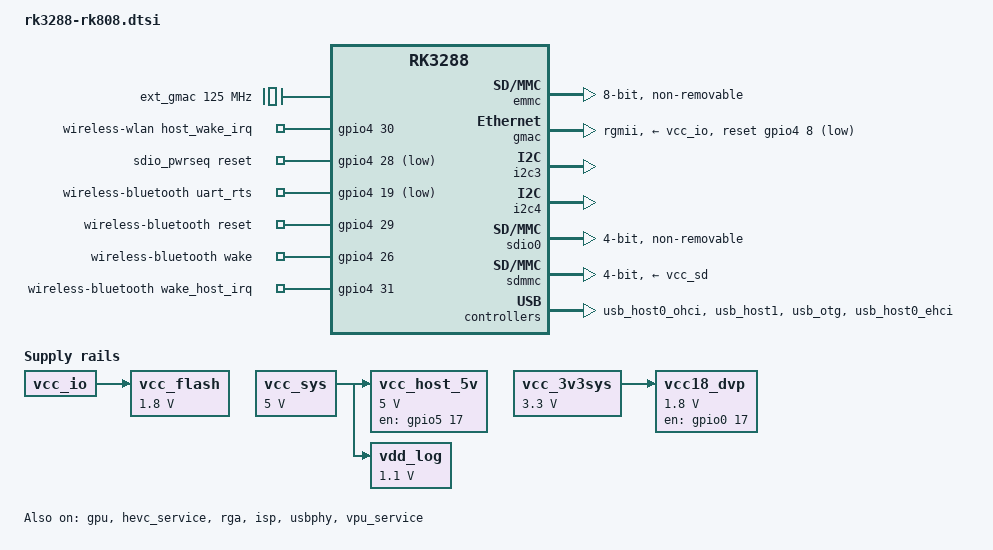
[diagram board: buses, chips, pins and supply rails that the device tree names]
/*
 * This file is dual-licensed: you can use it either under the terms
 * of the GPL or the X11 license, at your option. Note that this dual
 * licensing only applies to this file, and not this project as a
 * whole.
 *
 *  a) This file is free software; you can redistribute it and/or
 *     modify it under the terms of the GNU General Public License as
 *     published by the Free Software Foundation; either version 2 of the
 *     License, or (at your option) any later version.
 *
 *     This file is distributed in the hope that it will be useful,
 *     but WITHOUT ANY WARRANTY; without even the implied warranty of
 *     MERCHANTABILITY or FITNESS FOR A PARTICULAR PURPOSE.  See the
 *     GNU General Public License for more details.
 *
 * Or, alternatively,
 *
 *  b) Permission is hereby granted, free of charge, to any person
 *     obtaining a copy of this software and associated documentation
 *     files (the "Software"), to deal in the Software without
 *     restriction, including without limitation the rights to use,
 *     copy, modify, merge, publish, distribute, sublicense, and/or
 *     sell copies of the Software, and to permit persons to whom the
 *     Software is furnished to do so, subject to the following
 *     conditions:
 *
 *     The above copyright notice and this permission notice shall be
 *     included in all copies or substantial portions of the Software.
 *
 *     THE SOFTWARE IS PROVIDED "AS IS", WITHOUT WARRANTY OF ANY KIND,
 *     EXPRESS OR IMPLIED, INCLUDING BUT NOT LIMITED TO THE WARRANTIES
 *     OF MERCHANTABILITY, FITNESS FOR A PARTICULAR PURPOSE AND
 *     NONINFRINGEMENT. IN NO EVENT SHALL THE AUTHORS OR COPYRIGHT
 *     HOLDERS BE LIABLE FOR ANY CLAIM, DAMAGES OR OTHER LIABILITY,
 *     WHETHER IN AN ACTION OF CONTRACT, TORT OR OTHERWISE, ARISING
 *     FROM, OUT OF OR IN CONNECTION WITH THE SOFTWARE OR THE USE OR
 *     OTHER DEALINGS IN THE SOFTWARE.
 */

/dts-v1/;

#include <dt-bindings/pwm/pwm.h>
#include <dt-bindings/input/input.h>
#include "rk3288.dtsi"
#include "rk3288-android.dtsi"
#include "rk808.dtsi"


/ {
	compatible = "rockchip,rp-rk3288", "rockchip,rk3288";

	ext_gmac: external-gmac-clock {
		compatible = "fixed-clock";
		#clock-cells = <0>;
		clock-frequency = <125000000>;
		clock-output-names = "ext_gmac";
	};

	vcc_sys: vsys-regulator {
		compatible = "regulator-fixed";
		regulator-name = "vcc_sys";
		regulator-min-microvolt = <5000000>;
		regulator-max-microvolt = <5000000>;
		regulator-always-on;
		regulator-boot-on;
	};

	vcc_3v3sys: vsys-regulator {
		compatible = "regulator-fixed";
		regulator-name = "vcc_3v3sys";
		regulator-min-microvolt = <3300000>;
		regulator-max-microvolt = <3300000>;
		regulator-always-on;
		regulator-boot-on;
	};

	vcc18_dvp: dvp-regulator {
		compatible = "regulator-fixed";
		regulator-name = "vcc18_dvp";
		gpio = <&gpio0 17 GPIO_ACTIVE_HIGH>;
		pinctrl-names = "default";
		enable-active-high = "true";
		pinctrl-0 = <&dvp_pwr>;
		regulator-min-microvolt = <1800000>;
		regulator-max-microvolt = <1800000>;
		startup-delay-us = <100000>;
		vin-supply = <&vcc_3v3sys>;
	};

        vcc_flash: flash-regulator {
                compatible = "regulator-fixed";
                regulator-name = "vcc_flash";
                regulator-min-microvolt = <1800000>;
                regulator-max-microvolt = <1800000>;
                vin-supply = <&vcc_io>;
        };

	vcc_host_5v: usb-host-regulator {
		compatible = "regulator-fixed";
		regulator-name = "vcc_host_5v";
		gpio = <&gpio5 17 GPIO_ACTIVE_HIGH>;
		enable-active-high = "true";
		pinctrl-names = "default";
		pinctrl-0 = <&usb_host_pwr>;
		regulator-min-microvolt = <5000000>;
		regulator-max-microvolt = <5000000>;
		startup-delay-us = <100000>;
		regulator-always-on;
		vin-supply = <&vcc_sys>;
	};
	vdd_log: vdd-log {
		compatible = "regulator-fixed";
		regulator-name = "vdd_log";
		regulator-min-microvolt = <1100000>;
		regulator-max-microvolt = <1100000>;
		regulator-always-on;
		vin-supply = <&vcc_sys>;
	};

	wireless-wlan {
		compatible = "wlan-platdata";
		rockchip,grf = <&grf>;
		//wifi_chip_type = "ap6335";
		wifi_chip_type = "ap6212";
		sdio_vref = <1800>;
		WIFI,host_wake_irq = <&gpio4 30 GPIO_ACTIVE_HIGH>;
		status = "okay";
	};

	sdio_pwrseq: sdio-pwrseq {
		compatible = "mmc-pwrseq-simple";
		clocks = <&rk808 1>;
                clock-names = "ext_clock";
		pinctrl-names = "default";
		pinctrl-0 = <&wifi_enable_h>;

		/*
		 * On the module itself this is one of these (depending
		 * on the actual card populated):
		 * - SDIO_RESET_L_WL_REG_ON
		 * - PDN (power down when low)
		 */
		reset-gpios = <&gpio4 28 GPIO_ACTIVE_LOW>;
	};
	wireless-bluetooth {
		compatible = "bluetooth-platdata";
		clocks = <&rk808 1>;
                clock-names = "ext_clock";
		uart_rts_gpios = <&gpio4 19 GPIO_ACTIVE_LOW>;
		pinctrl-names = "default", "rts_gpio";
		pinctrl-0 = <&uart0_rts>;
		pinctrl-1 = <&uart0_gpios>;
		BT,reset_gpio    = <&gpio4 29 GPIO_ACTIVE_HIGH>;
		BT,wake_gpio     = <&gpio4 26 GPIO_ACTIVE_HIGH>;
		BT,wake_host_irq = <&gpio4 31 GPIO_ACTIVE_HIGH>;
		status = "okay";
	};

};

&emmc {
	bus-width = <8>;
	cap-mmc-highspeed;
	disable-wp;
	non-removable;
	num-slots = <1>;
	pinctrl-names = "default";
	pinctrl-0 = <&emmc_clk &emmc_cmd &emmc_pwr &emmc_bus8>;
	max-frequency = <100000000>;
	mmc-hs200-1_8v;
	mmc-ddr-1_8v;
	status = "okay";
};

&gmac {
	assigned-clocks = <&cru SCLK_MAC>;
	assigned-clock-parents = <&ext_gmac>;
	clock_in_out = "input";
	pinctrl-names = "default";
	pinctrl-0 = <&rgmii_pins>, <&phy_rst>, <&phy_pmeb>, <&phy_int>;
	phy-supply = <&vcc_io>;
	phy-mode = "rgmii";
	snps,reset-active-low;
	snps,reset-delays-us = <0 10000 1000000>;
	snps,reset-gpio = <&gpio4 8 GPIO_ACTIVE_LOW>;
	tx_delay = <0x30>;
	rx_delay = <0x10>;
        //status = "disabled";
	status = "okay";
};

&gpu {
	status = "okay";
	mali-supply = <&vdd_gpu>;
};



&hevc_service {
	status = "okay";
};



&i2c3 {
	status = "okay";
};

&i2c4 {
	status = "okay";
};


&i2c5 {
        status = "disabled";
};


&rga {
	status = "okay";
};

&pinctrl {
	pcfg_output_high: pcfg-output-high {
		output-high;
	};

	pcfg_output_low: pcfg-output-low {
		output-low;
	};

	pcfg_pull_up: pcfg-pull-up {
		bias-pull-up;
	};

        pcfg_pull_up_output_high: pcfg-pull-up-output-high {
                bias-pull-up;
                output-high;
        };

	pcfg_pull_none_drv_8ma: pcfg-pull-none-drv-8ma {
		drive-strength = <8>;
	};

	pcfg_pull_up_drv_8ma: pcfg-pull-up-drv-8ma {
		bias-pull-up;
		drive-strength = <8>;
	};
	

	

	dvp {
		dvp_pwr: dvp-pwr {
			rockchip,pins = <0 17 RK_FUNC_GPIO &pcfg_output_high>;
		};
	};

	usb {
		usb_host_pwr: usb-host-pwr {
			rockchip,pins = <5 17 RK_FUNC_GPIO &pcfg_pull_up_output_high>;
		};
	};

	gmac {
		phy_int: phy-int {
			rockchip,pins = <0 9 RK_FUNC_GPIO &pcfg_pull_up>;
		};

		phy_pmeb: phy-pmeb {
			rockchip,pins = <0 8 RK_FUNC_GPIO &pcfg_pull_up>;
		};

		phy_rst: phy-rst {
			rockchip,pins = <4 8 RK_FUNC_GPIO &pcfg_output_high>;
		};
	};

	sdio-pwrseq {
		wifi_enable_h: wifi-enable-h {
			rockchip,pins = <4 28 RK_FUNC_GPIO &pcfg_pull_none>;
		};
	};

	sdmmc {
		sdmmc_bus4: sdmmc-bus4 {
			rockchip,pins = <6 16 RK_FUNC_1 &pcfg_pull_up_drv_8ma>,
					<6 17 RK_FUNC_1 &pcfg_pull_up_drv_8ma>,
					<6 18 RK_FUNC_1 &pcfg_pull_up_drv_8ma>,
					<6 19 RK_FUNC_1 &pcfg_pull_up_drv_8ma>;
		};

		sdmmc_clk: sdmmc-clk {
			rockchip,pins = <6 20 RK_FUNC_1 &pcfg_pull_none_drv_8ma>;
		};

		sdmmc_cmd: sdmmc-cmd {
			rockchip,pins = <6 21 RK_FUNC_1 &pcfg_pull_up_drv_8ma>;
		};

		sdmmc_pwr: sdmmc-pwr {
			rockchip,pins = <7 11 RK_FUNC_GPIO &pcfg_pull_none>;
		};
	};

//	otg_vbus_drv {
//		otg_vbus_drv: otg-vbus-drv {
//			rockchip,pins = <0 12 RK_FUNC_GPIO &pcfg_output_high>;
//		};
//	};

	wireless-bluetooth {
		uart0_gpios: uart0-gpios {
			rockchip,pins = <4 19 RK_FUNC_GPIO &pcfg_pull_none>;
		};
	};
};

&isp {
	status = "okay";
};

&isp_mmu {
	status = "okay";
};


&sdio0 {
	status = "okay";
	max-frequency = <150000000>;

	bus-width = <4>;
	cap-sd-highspeed;
	cap-sdio-irq;
	disable-wp;
	keep-power-in-suspend;
	mmc-pwrseq = <&sdio_pwrseq>;
	non-removable;
	num-slots = <1>;
	pinctrl-names = "default";
	//pinctrl-0 = <&sdio0_bus4 &sdio0_cmd &sdio0_clk &sdio0_int>;
	pinctrl-0 = <&sdio0_bus4 &sdio0_cmd &sdio0_clk>;
	sd-uhs-sdr104;
	supports-sdio;
};

&sdmmc {
	bus-width = <4>;
	max-frequency = <150000000>;
	cap-mmc-highspeed;
	cap-sd-highspeed;
	card-detect-delay = <200>;
	disable-wp;
	num-slots = <1>;
	pinctrl-names = "default";
	pinctrl-0 = <&sdmmc_clk>, <&sdmmc_cmd>, <&sdmmc_cd>, <&sdmmc_bus4>;
	supports-sd;
	status = "okay";
        vmmc-supply = <&vcc_sd>;
        vqmmc-supply = <&vccio_sd>;
};

&usbphy {
	status = "okay";
};

&usb_host0_ohci {
	status = "okay";
};

&usb_host1 {
	status = "okay";
};

&usb_otg {
//	pinctrl-0 = <&otg_vbus_drv>;
	status = "okay";
};
&usb_host0_ehci {
	rockchip-relinquish-port;
	status = "okay";
};
&vpu_service {
	status = "okay";
};

&rockchip_suspend {
	status = "okay";
};
